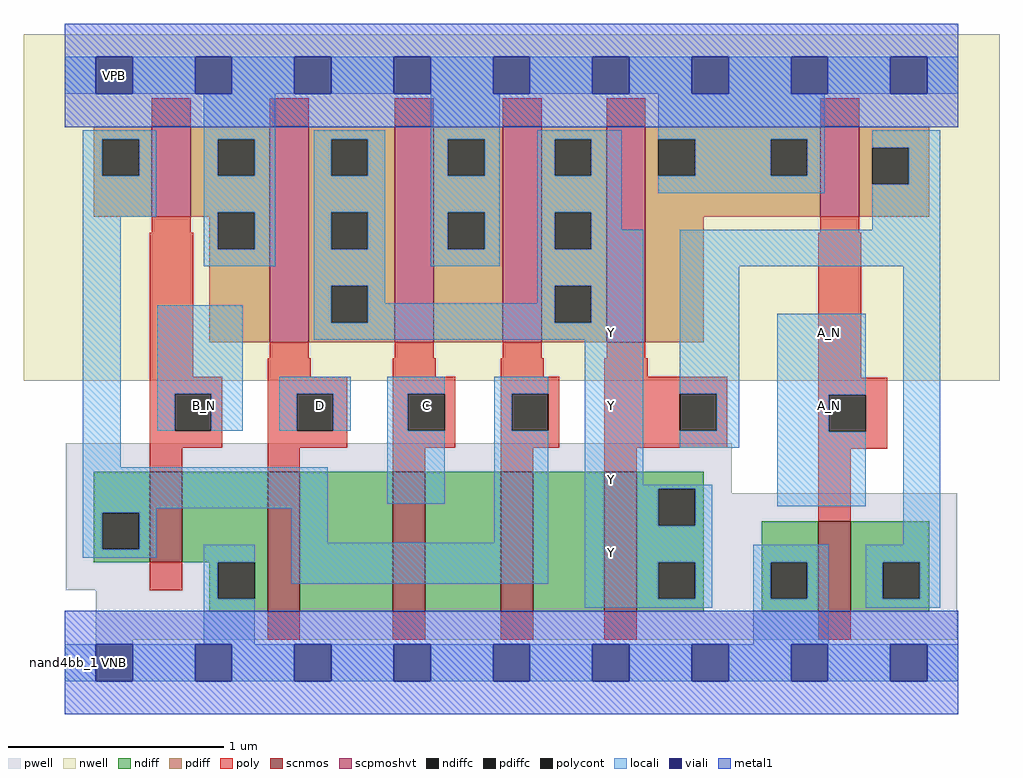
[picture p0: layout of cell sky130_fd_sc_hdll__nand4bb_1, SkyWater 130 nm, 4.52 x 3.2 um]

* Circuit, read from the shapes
.subckt sky130_fd_sc_hdll__nand4bb_1 A_N B_N C D VGND VNB VPB VPWR Y
XM1 VGND B_N n1 VNB sky130_fd_pr__nfet_01v8 w=0.42 l=0.15
XM2 n2 D VGND VNB sky130_fd_pr__nfet_01v8 w=0.65 l=0.15
XM3 n3 C n2 VNB sky130_fd_pr__nfet_01v8 w=0.65 l=0.15
XM4 n4 n1 n3 VNB sky130_fd_pr__nfet_01v8 w=0.65 l=0.15
XM5 Y n5 n4 VNB sky130_fd_pr__nfet_01v8 w=0.65 l=0.15
XM6 n5 A_N VGND VNB sky130_fd_pr__nfet_01v8 w=0.42 l=0.15
XM7 VPWR B_N n1 VPB sky130_fd_pr__pfet_01v8_hvt w=0.42 l=0.18
XM8 Y D VPWR VPB sky130_fd_pr__pfet_01v8_hvt w=1 l=0.18
XM9 VPWR C Y VPB sky130_fd_pr__pfet_01v8_hvt w=1 l=0.18
XM10 Y n1 VPWR VPB sky130_fd_pr__pfet_01v8_hvt w=1 l=0.18
XM11 VPWR n5 Y VPB sky130_fd_pr__pfet_01v8_hvt w=1 l=0.18
XM12 n5 A_N VPWR VPB sky130_fd_pr__pfet_01v8_hvt w=0.42 l=0.18
.ends

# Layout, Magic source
magic
tech sky130A
magscale 1 2
<< nwell >>
rect -38 261 866 582
<< pwell >>
rect 1 157 618 203
rect 1 67 827 157
rect 29 21 827 67
rect 29 -17 63 21
<< scnmos >>
rect 79 93 109 177
rect 188 47 218 177
rect 304 47 334 177
rect 404 47 434 177
rect 500 47 530 177
rect 698 47 728 131
<< scpmoshvt >>
rect 81 413 117 497
rect 190 297 226 497
rect 306 297 342 497
rect 406 297 442 497
rect 502 297 538 497
rect 700 413 736 497
<< ndiff >>
rect 27 139 79 177
rect 27 105 35 139
rect 69 105 79 139
rect 27 93 79 105
rect 109 93 188 177
rect 134 59 142 93
rect 176 59 188 93
rect 134 47 188 59
rect 218 47 304 177
rect 334 47 404 177
rect 434 47 500 177
rect 530 161 592 177
rect 530 127 550 161
rect 584 127 592 161
rect 530 93 592 127
rect 530 59 550 93
rect 584 59 592 93
rect 530 47 592 59
rect 646 93 698 131
rect 646 59 654 93
rect 688 59 698 93
rect 646 47 698 59
rect 728 93 801 131
rect 728 59 758 93
rect 792 59 801 93
rect 728 47 801 59
<< pdiff >>
rect 27 485 81 497
rect 27 451 35 485
rect 69 451 81 485
rect 27 413 81 451
rect 117 485 190 497
rect 117 451 142 485
rect 176 451 190 485
rect 117 417 190 451
rect 117 413 142 417
rect 134 383 142 413
rect 176 383 190 417
rect 134 297 190 383
rect 226 485 306 497
rect 226 451 247 485
rect 281 451 306 485
rect 226 417 306 451
rect 226 383 247 417
rect 281 383 306 417
rect 226 349 306 383
rect 226 315 247 349
rect 281 315 306 349
rect 226 297 306 315
rect 342 485 406 497
rect 342 451 355 485
rect 389 451 406 485
rect 342 417 406 451
rect 342 383 355 417
rect 389 383 406 417
rect 342 297 406 383
rect 442 485 502 497
rect 442 451 454 485
rect 488 451 502 485
rect 442 417 502 451
rect 442 383 454 417
rect 488 383 502 417
rect 442 349 502 383
rect 442 315 454 349
rect 488 315 502 349
rect 442 297 502 315
rect 538 485 700 497
rect 538 451 550 485
rect 584 451 654 485
rect 688 451 700 485
rect 538 413 700 451
rect 736 477 801 497
rect 736 443 748 477
rect 782 443 801 477
rect 736 413 801 443
rect 538 297 592 413
<< ndiffc >>
rect 35 105 69 139
rect 142 59 176 93
rect 550 127 584 161
rect 550 59 584 93
rect 654 59 688 93
rect 758 59 792 93
<< pdiffc >>
rect 35 451 69 485
rect 142 451 176 485
rect 142 383 176 417
rect 247 451 281 485
rect 247 383 281 417
rect 247 315 281 349
rect 355 451 389 485
rect 355 383 389 417
rect 454 451 488 485
rect 454 383 488 417
rect 454 315 488 349
rect 550 451 584 485
rect 654 451 688 485
rect 748 443 782 477
<< poly >>
rect 81 497 117 523
rect 190 497 226 523
rect 306 497 342 523
rect 406 497 442 523
rect 502 497 538 523
rect 700 497 736 523
rect 81 398 117 413
rect 79 265 119 398
rect 700 398 736 413
rect 190 282 226 297
rect 306 282 342 297
rect 406 282 442 297
rect 502 282 538 297
rect 188 265 228 282
rect 304 265 344 282
rect 404 265 444 282
rect 500 265 540 282
rect 79 249 146 265
rect 79 215 102 249
rect 136 215 146 249
rect 79 199 146 215
rect 188 249 262 265
rect 188 215 215 249
rect 249 215 262 249
rect 188 199 262 215
rect 304 249 362 265
rect 304 215 318 249
rect 352 215 362 249
rect 304 199 362 215
rect 404 249 458 265
rect 404 215 414 249
rect 448 215 458 249
rect 404 199 458 215
rect 500 249 614 265
rect 500 215 570 249
rect 604 215 614 249
rect 500 199 614 215
rect 698 264 738 398
rect 698 248 762 264
rect 698 214 708 248
rect 742 214 762 248
rect 79 177 109 199
rect 188 177 218 199
rect 304 177 334 199
rect 404 177 434 199
rect 500 177 530 199
rect 698 198 762 214
rect 79 67 109 93
rect 698 131 728 198
rect 188 21 218 47
rect 304 21 334 47
rect 404 21 434 47
rect 500 21 530 47
rect 698 21 728 47
<< polycont >>
rect 102 215 136 249
rect 215 215 249 249
rect 318 215 352 249
rect 414 215 448 249
rect 570 215 604 249
rect 708 214 742 248
<< locali >>
rect 0 527 29 561
rect 63 527 121 561
rect 155 527 213 561
rect 247 527 305 561
rect 339 527 397 561
rect 431 527 489 561
rect 523 527 581 561
rect 615 527 673 561
rect 707 527 765 561
rect 799 527 828 561
rect 17 485 85 493
rect 17 451 35 485
rect 69 451 85 485
rect 17 413 85 451
rect 129 485 195 527
rect 129 451 142 485
rect 176 451 195 485
rect 129 417 195 451
rect 17 181 52 413
rect 129 383 142 417
rect 176 383 195 417
rect 129 367 195 383
rect 231 485 297 493
rect 231 451 247 485
rect 281 451 297 485
rect 231 417 297 451
rect 231 383 247 417
rect 281 383 297 417
rect 231 349 297 383
rect 339 485 403 527
rect 339 451 355 485
rect 389 451 403 485
rect 339 417 403 451
rect 339 383 355 417
rect 389 383 403 417
rect 339 367 403 383
rect 438 485 516 493
rect 438 451 454 485
rect 488 451 516 485
rect 438 417 516 451
rect 550 485 704 527
rect 584 451 654 485
rect 688 451 704 485
rect 550 435 704 451
rect 748 477 811 493
rect 782 443 811 477
rect 438 383 454 417
rect 488 401 516 417
rect 748 401 811 443
rect 488 383 536 401
rect 86 249 165 331
rect 231 315 247 349
rect 281 333 297 349
rect 438 349 536 383
rect 438 333 454 349
rect 281 315 454 333
rect 488 315 536 349
rect 231 299 536 315
rect 86 215 102 249
rect 136 215 165 249
rect 199 249 265 265
rect 199 215 215 249
rect 249 215 265 249
rect 299 249 352 265
rect 299 215 318 249
rect 17 143 244 181
rect 299 147 352 215
rect 398 249 448 265
rect 398 215 414 249
rect 17 139 85 143
rect 17 105 35 139
rect 69 105 85 139
rect 210 111 244 143
rect 398 111 448 215
rect 17 97 85 105
rect 129 93 176 109
rect 129 59 142 93
rect 210 73 448 111
rect 482 165 536 299
rect 570 367 811 401
rect 570 249 625 367
rect 604 215 625 249
rect 570 199 625 215
rect 660 248 742 323
rect 660 214 708 248
rect 482 161 600 165
rect 482 127 550 161
rect 584 127 600 161
rect 660 145 742 214
rect 482 93 600 127
rect 777 109 811 367
rect 129 17 176 59
rect 482 59 550 93
rect 584 59 600 93
rect 482 51 600 59
rect 638 93 708 109
rect 638 59 654 93
rect 688 59 708 93
rect 638 17 708 59
rect 742 93 811 109
rect 742 59 758 93
rect 792 59 811 93
rect 742 51 811 59
rect 0 -17 29 17
rect 63 -17 121 17
rect 155 -17 213 17
rect 247 -17 305 17
rect 339 -17 397 17
rect 431 -17 489 17
rect 523 -17 581 17
rect 615 -17 673 17
rect 707 -17 765 17
rect 799 -17 828 17
<< viali >>
rect 29 527 63 561
rect 121 527 155 561
rect 213 527 247 561
rect 305 527 339 561
rect 397 527 431 561
rect 489 527 523 561
rect 581 527 615 561
rect 673 527 707 561
rect 765 527 799 561
rect 29 -17 63 17
rect 121 -17 155 17
rect 213 -17 247 17
rect 305 -17 339 17
rect 397 -17 431 17
rect 489 -17 523 17
rect 581 -17 615 17
rect 673 -17 707 17
rect 765 -17 799 17
<< metal1 >>
rect 0 561 828 592
rect 0 527 29 561
rect 63 527 121 561
rect 155 527 213 561
rect 247 527 305 561
rect 339 527 397 561
rect 431 527 489 561
rect 523 527 581 561
rect 615 527 673 561
rect 707 527 765 561
rect 799 527 828 561
rect 0 496 828 527
rect 0 17 828 48
rect 0 -17 29 17
rect 63 -17 121 17
rect 155 -17 213 17
rect 247 -17 305 17
rect 339 -17 397 17
rect 431 -17 489 17
rect 523 -17 581 17
rect 615 -17 673 17
rect 707 -17 765 17
rect 799 -17 828 17
rect 0 -48 828 -17
<< labels >>
flabel locali s 318 221 352 255 0 FreeSans 250 0 0 0 C
port 3 nsew signal input
flabel locali s 220 221 254 255 0 FreeSans 250 0 0 0 D
port 4 nsew signal input
flabel locali s 692 289 726 323 0 FreeSans 250 0 0 0 A_N
port 1 nsew signal input
flabel locali s 692 221 726 255 0 FreeSans 250 0 0 0 A_N
port 1 nsew signal input
flabel locali s 490 289 524 323 0 FreeSans 250 0 0 0 Y
port 9 nsew signal output
flabel locali s 490 221 524 255 0 FreeSans 250 0 0 0 Y
port 9 nsew signal output
flabel locali s 490 153 524 187 0 FreeSans 250 0 0 0 Y
port 9 nsew signal output
flabel locali s 113 221 147 255 0 FreeSans 250 0 0 0 B_N
port 2 nsew signal input
flabel locali s 490 85 524 119 0 FreeSans 250 0 0 0 Y
port 9 nsew signal output
flabel pwell s 29 -17 63 17 0 FreeSans 200 0 0 0 VNB
port 6 nsew ground bidirectional
flabel nwell s 29 527 63 561 0 FreeSans 200 0 0 0 VPB
port 7 nsew power bidirectional
flabel metal1 s 29 527 63 561 0 FreeSans 200 0 0 0 VPWR
port 8 nsew power bidirectional
flabel metal1 s 29 -17 63 17 0 FreeSans 200 0 0 0 VGND
port 5 nsew ground bidirectional
rlabel comment s 0 0 0 0 4 nand4bb_1
<< properties >>
string LEFsite unithd
string LEFclass CORE
string FIXED_BBOX 0 0 828 544
string GDS_FILE $PDKPATH/libs.ref/sky130_fd_sc_hdll/gds/sky130_fd_sc_hdll.gds
string LEFsymmetry X Y R90
string GDS_END 2284458
string GDS_START 2277126
string LEFproperties maskLayoutSubType "abstract" prCellType "standard" originalViewName "layout"
<< end >>
